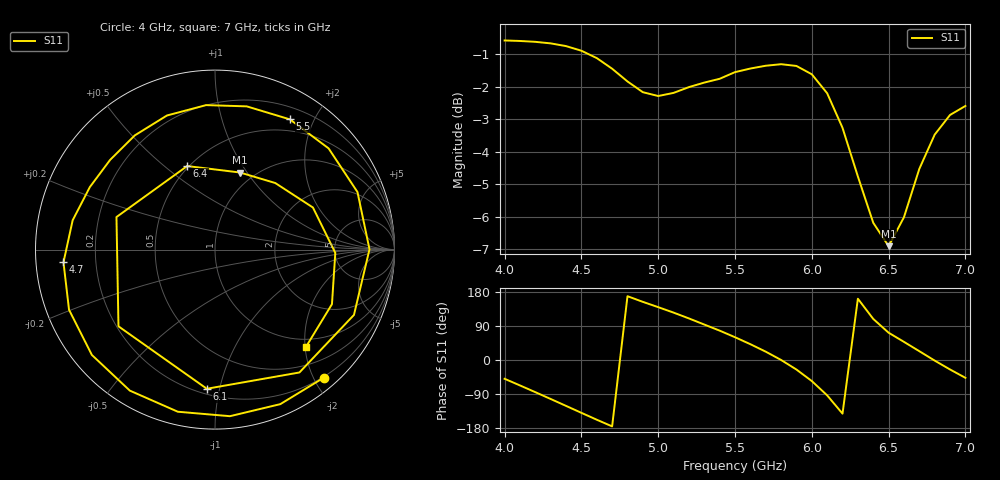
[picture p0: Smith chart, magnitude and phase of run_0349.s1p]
! Touchstone file exported from HFSS 2024.2.0
!  File:  C:/Users/wsak9/Desktop/Sim Fast/Widenad Patch/WP_AI_V1_sweep.aedt
!  Generated:  05:49:31 AM Oct 14, 2026
!  Design:  A1_model
!  Project:  WP_AI_V1_sweep
!  Setup:  Setup1
!  Solution:  Sweep
! Variables:
!  Air_gap = 1.76mm
!  Curve_Amp1 = 1.35
!  Curve_len1 = 1
!  Curve_pos = 9.61mm
!  Extra = 4.16mm
!  H_sub = 0.79mm
!  L_Patch = 15.22mm
!  L_Patch1 = 20.1mm
!  Sx = 2.19mm
!  Sy = 4.84mm
!  WS = 1.4mm
!  W_Patch = 12.73mm
!  W_Patch1 = 15.94mm
!Data is not renormalized
# GHz S MA
! Terminal data exported
! Port[1] = 1
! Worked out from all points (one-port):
!   31 points, 4 GHz to 7 GHz, reference per port
!   lowest |S11| = -6.9 dB at 6.5 GHz (marker M1), VSWR 2.65
!   |S11| at or under -10 dB: nowhere
!   S11 on the Smith chart (normalised r, x): 4 GHz: 0.19, -2.15; 4.7 GHz: 0.08, -0.04; 5.5 GHz: 0.35, +1.68; 6.1 GHz: 0.23, -0.92; 6.4 GHz: 0.49, +0.60; 7 GHz: 0.83, -2.02
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4  0.9364 -49.6
4.1  0.9347 -67.1
4.2  0.9318 -84.9
4.3  0.9268 -102.9
4.4  0.9178 -121.1
4.5  0.9029 -139.4
4.6  0.8797 -157.6
4.7  0.8472 -175.2
4.8  0.8097 168.4
5  0.769 139.4
5.2  0.7937 109.7
5.4  0.8174 77.5
5.5  0.8369 60.1
5.6  0.8477 41.7
5.7  0.8561 22.0
5.8  0.8608 0.1
5.9  0.8555 -25.2
6  0.8306 -55.5
6.1  0.7766 -93.4
6.2  0.687 -141.5
6.3  0.5782 161.7
6.4  0.4907 108.4
6.5  0.4516 72.0
6.6  0.5003 47.9
6.7  0.5939 23.2
6.8  0.6706 -1.6
6.9  0.719 -25.0
7  0.7423 -47.0
